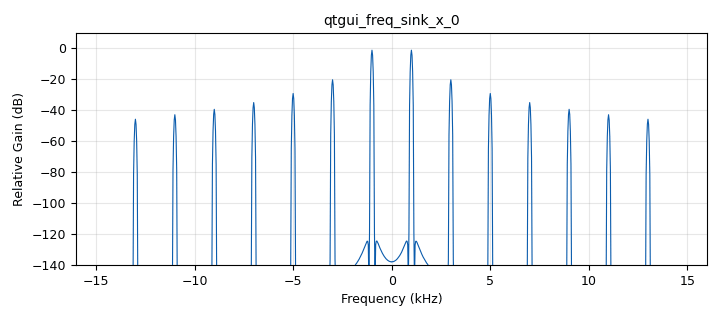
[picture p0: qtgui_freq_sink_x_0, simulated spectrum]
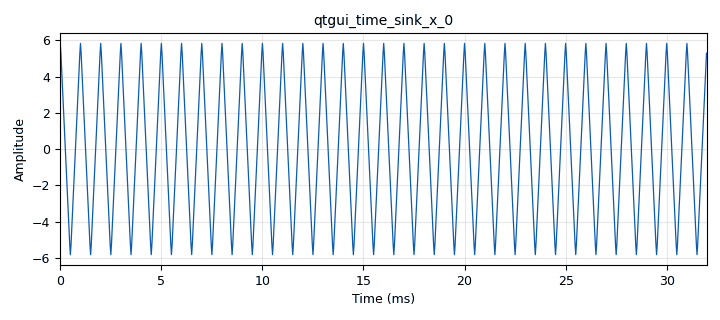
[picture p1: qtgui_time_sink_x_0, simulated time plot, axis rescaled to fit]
options:
  parameters:
    generate_options: qt_gui
    id: triangolare
    output_language: python
    title: Not titled yet
  states: {}

blocks:
- name: samp_rate
  id: variable
  parameters:
    value: '32000'
  states: {}
- name: analog_sig_source_x_0
  id: analog_sig_source_x
  parameters:
    amp: '4.8634'
    freq: '1000'
    offset: '0'
    phase: '0'
    samp_rate: samp_rate
    type: float
    waveform: analog.GR_COS_WAVE
  states: {}
- name: analog_sig_source_x_0_0
  id: analog_sig_source_x
  parameters:
    amp: '0.5403'
    freq: '3000'
    offset: '0'
    phase: '0'
    samp_rate: samp_rate
    type: float
    waveform: analog.GR_COS_WAVE
  states: {}
- name: analog_sig_source_x_0_1
  id: analog_sig_source_x
  parameters:
    amp: '0.1945'
    freq: '5000'
    offset: '0'
    phase: '0'
    samp_rate: samp_rate
    type: float
    waveform: analog.GR_COS_WAVE
  states: {}
- name: analog_sig_source_x_0_2
  id: analog_sig_source_x
  parameters:
    amp: '0.09925'
    freq: '7000'
    offset: '0'
    phase: '0'
    samp_rate: samp_rate
    type: float
    waveform: analog.GR_COS_WAVE
  states: {}
- name: analog_sig_source_x_0_3
  id: analog_sig_source_x
  parameters:
    amp: '0.060042'
    freq: '9000'
    offset: '0'
    phase: '0'
    samp_rate: samp_rate
    type: float
    waveform: analog.GR_COS_WAVE
  states: {}
- name: analog_sig_source_x_0_4
  id: analog_sig_source_x
  parameters:
    amp: '0.04019'
    freq: '11000'
    offset: '0'
    phase: '0'
    samp_rate: samp_rate
    type: float
    waveform: analog.GR_COS_WAVE
  states: {}
- name: analog_sig_source_x_0_5
  id: analog_sig_source_x
  parameters:
    amp: '0.02877'
    freq: '13000'
    offset: '0'
    phase: '0'
    samp_rate: samp_rate
    type: float
    waveform: analog.GR_COS_WAVE
  states: {}
- name: blocks_add_xx_0
  id: blocks_add_xx
  parameters:
    num_inputs: '7'
    type: float
  states: {}
- name: blocks_throttle_0
  id: blocks_throttle
  parameters:
    samples_per_second: samp_rate
    type: float
  states: {}
- name: qtgui_freq_sink_x_0
  id: qtgui_freq_sink_x
  parameters:
    bw: samp_rate
    fc: '0'
    fftsize: '1024'
    type: float
  states: {}
- name: qtgui_time_sink_x_0
  id: qtgui_time_sink_x
  parameters:
    size: '1024'
    srate: samp_rate
    type: float
  states: {}

connections:
- [analog_sig_source_x_0, '0', blocks_add_xx_0, '0']
- [analog_sig_source_x_0_0, '0', blocks_add_xx_0, '1']
- [analog_sig_source_x_0_1, '0', blocks_add_xx_0, '2']
- [analog_sig_source_x_0_2, '0', blocks_add_xx_0, '3']
- [analog_sig_source_x_0_3, '0', blocks_add_xx_0, '4']
- [analog_sig_source_x_0_4, '0', blocks_add_xx_0, '5']
- [analog_sig_source_x_0_5, '0', blocks_add_xx_0, '6']
- [blocks_add_xx_0, '0', blocks_throttle_0, '0']
- [blocks_throttle_0, '0', qtgui_freq_sink_x_0, '0']
- [blocks_throttle_0, '0', qtgui_time_sink_x_0, '0']

metadata:
  file_format: 1
  grc_version: 3.10.5.1
